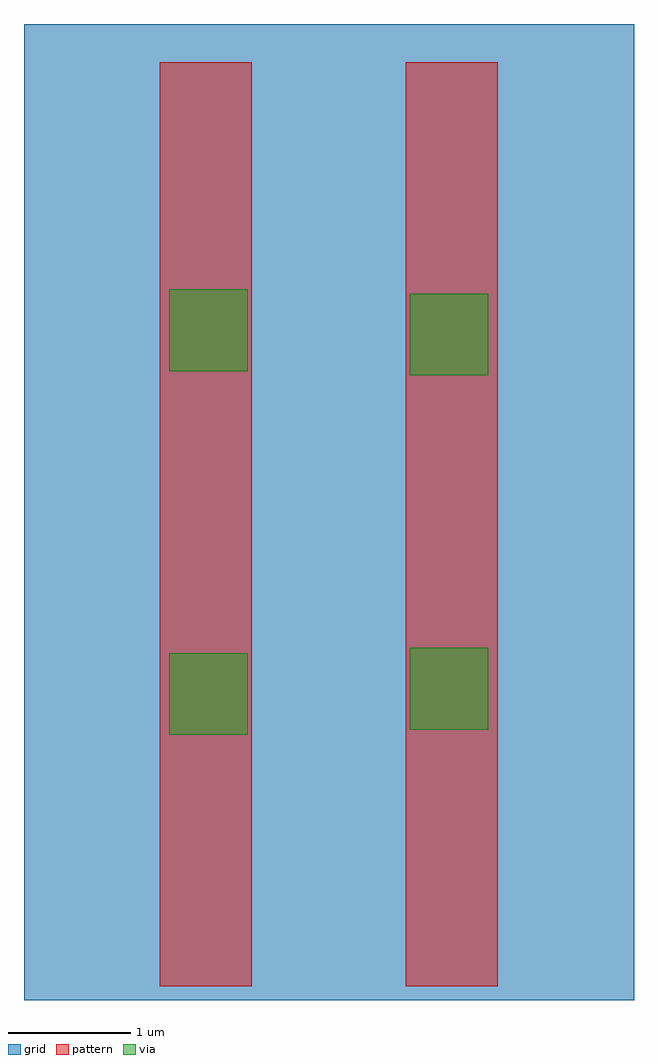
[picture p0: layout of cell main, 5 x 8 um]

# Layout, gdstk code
import gdstk
lib = gdstk.Library(unit=1e-6, precision=1e-09)
def R(c, l, rs):  # rectangles x0, y0, x1, y1
    for r in rs: c.add(gdstk.rectangle(r[:2], r[2:], *l))
def A(c, l, x, y, w, h, nx, ny, dx, dy):  # array of equal rectangles
    R(c, l, [(x+i*dx, y+j*dy, x+i*dx+w, y+j*dy+h) for i in range(nx) for j in range(ny)])
grid = (1, 0)
pattern = (2, 0)
via = (3, 0)

main = lib.new_cell('main')
A(main, grid, -0.5, -0.5, 1, 1, 5, 8, 1, 1)
R(main, pattern, [(0.614,-0.386,1.368,7.188), (2.631,-0.386,3.385,7.188)])
R(main, via, [(0.689,1.673,1.332,2.344), (2.662,1.717,3.305,2.388), (2.662,4.619,3.305,5.29), (0.689,4.655,1.332,5.326)])

lib.write_gds('main.gds')
